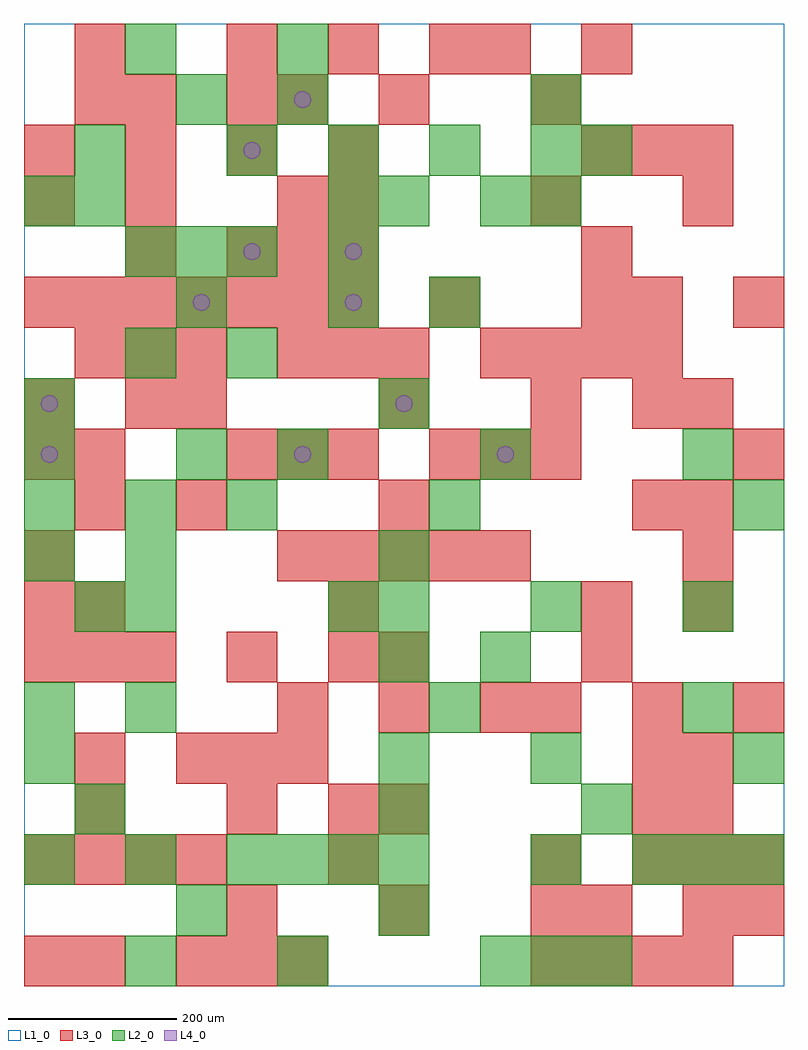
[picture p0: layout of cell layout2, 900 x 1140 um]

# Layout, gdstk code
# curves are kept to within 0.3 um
import gdstk
lib = gdstk.Library(unit=1e-6, precision=1e-09)
def R(c, l, rs):  # rectangles x0, y0, x1, y1
    for r in rs: c.add(gdstk.rectangle(r[:2], r[2:], *l))
def A(c, l, x, y, w, h, nx, ny, dx, dy):  # array of equal rectangles
    R(c, l, [(x+i*dx, y+j*dy, x+i*dx+w, y+j*dy+h) for i in range(nx) for j in range(ny)])
def P(c, l, *ps):  # polygons
    for p in ps: c.add(gdstk.Polygon(p, *l))
L1_0 = (1, 0)
L2_0 = (2, 0)
L3_0 = (3, 0)
L4_0 = (4, 0)

layout2 = lib.new_cell('layout2')
R(layout2, L1_0, [(0,0,900,1140)])
A(layout2, L2_0, 540, 0, 60, 60, 3, 1, 60, 0)
A(layout2, L2_0, 0, 120, 60, 60, 3, 2, 120, 420)
A(layout2, L2_0, 300, 120, 60, 60, 3, 1, 60, 0)
A(layout2, L2_0, 720, 120, 60, 60, 3, 1, 60, 0)
A(layout2, L2_0, 420, 240, 60, 60, 1, 3, 0, 120)
A(layout2, L2_0, 480, 300, 60, 60, 1, 3, 0, 240)
A(layout2, L2_0, 420, 420, 60, 60, 3, 1, 180, 0)
A(layout2, L2_0, 300, 600, 60, 60, 3, 1, 240, 0)
A(layout2, L2_0, 360, 780, 60, 60, 1, 3, 0, 60)
A(layout2, L2_0, 120, 840, 60, 60, 3, 1, 60, 0)
A(layout2, L2_0, 240, 960, 60, 60, 4, 1, 120, 0)
R(layout2, L2_0, [(120,0,180,60), (300,0,360,60), (180,60,240,120), (420,60,480,120), (600,120,660,180), (60,180,120,240), (420,180,480,240), (660,180,720,240), (0,240,60,300), (600,240,660,300), (840,240,900,300), (0,300,60,360), (120,300,180,360), (780,300,840,360), (540,360,600,420), (60,420,120,480), (120,420,180,480), (360,420,420,480), (0,480,60,540), (120,480,180,540), (840,540,900,600), (0,600,60,660), (180,600,240,660), (0,660,60,720), (420,660,480,720), (120,720,180,780), (240,720,300,780), (180,780,240,840), (0,900,60,960), (60,900,120,960), (420,900,480,960), (540,900,600,960), (600,900,660,960), (60,960,120,1020), (660,960,720,1020), (180,1020,240,1080), (300,1020,360,1080), (600,1020,660,1080), (120,1080,180,1140), (300,1080,360,1140)])
A(layout2, L3_0, 180, 0, 60, 60, 3, 2, 60, 240)
A(layout2, L3_0, 600, 0, 60, 60, 4, 1, 60, 0)
A(layout2, L3_0, 240, 60, 60, 60, 3, 1, 180, 0)
A(layout2, L3_0, 0, 120, 60, 60, 4, 1, 60, 0)
A(layout2, L3_0, 720, 120, 60, 60, 3, 1, 60, 0)
A(layout2, L3_0, 420, 180, 60, 60, 1, 3, 0, 180)
A(layout2, L3_0, 300, 300, 60, 60, 3, 1, 120, 0)
A(layout2, L3_0, 600, 300, 60, 60, 3, 1, 120, 0)
A(layout2, L3_0, 0, 360, 60, 60, 3, 1, 60, 0)
A(layout2, L3_0, 60, 420, 60, 60, 3, 1, 300, 0)
A(layout2, L3_0, 780, 420, 60, 60, 1, 3, 0, 60)
A(layout2, L3_0, 300, 480, 60, 60, 5, 1, 60, 0)
A(layout2, L3_0, 720, 540, 60, 60, 1, 3, 0, 120)
A(layout2, L3_0, 240, 600, 60, 60, 3, 2, 60, 240)
A(layout2, L3_0, 480, 600, 60, 60, 3, 1, 60, 0)
A(layout2, L3_0, 60, 720, 60, 60, 3, 1, 60, 0)
A(layout2, L3_0, 300, 720, 60, 60, 3, 1, 60, 0)
A(layout2, L3_0, 540, 720, 60, 60, 4, 1, 60, 0)
A(layout2, L3_0, 0, 780, 60, 60, 7, 1, 60, 0)
A(layout2, L3_0, 0, 960, 60, 60, 4, 1, 120, 0)
A(layout2, L3_0, 660, 960, 60, 60, 3, 1, 60, 0)
A(layout2, L3_0, 240, 1080, 60, 60, 3, 1, 120, 0)
R(layout2, L3_0, [(0,0,60,60), (60,0,120,60), (660,60,720,120), (780,60,840,120), (840,60,900,120), (360,120,420,180), (600,120,660,180), (60,180,120,240), (240,180,300,240), (360,180,420,240), (720,180,780,240), (780,180,840,240), (60,240,120,300), (720,240,780,300), (780,240,840,300), (240,360,300,420), (360,360,420,420), (660,360,720,420), (0,420,60,480), (0,480,60,540), (60,540,120,600), (180,540,240,600), (0,600,60,660), (60,600,120,660), (840,600,900,660), (0,660,60,720), (120,660,180,720), (180,660,240,720), (420,660,480,720), (600,660,660,720), (780,660,840,720), (480,780,540,840), (660,780,720,840), (840,780,900,840), (120,840,180,900), (660,840,720,900), (0,900,60,960), (120,900,180,960), (300,900,360,960), (360,900,420,960), (600,900,660,960), (780,900,840,960), (60,1020,120,1080), (120,1020,180,1080), (240,1020,300,1080), (300,1020,360,1080), (420,1020,480,1080), (600,1020,660,1080), (60,1080,120,1140), (540,1080,600,1140), (660,1080,720,1140)])
P(layout2, L4_0, [(40,630),(39.239,633.827),(37.071,637.071),(33.827,639.239),(30,640),(26.173,639.239),(22.929,637.071),(20.761,633.827),(20,630),(20.761,626.173),(22.929,622.929),(26.173,620.761),(30,620),(33.827,620.761),(37.071,622.929),(39.239,626.173)],
  [(40,690),(39.239,693.827),(37.071,697.071),(33.827,699.239),(30,700),(26.173,699.239),(22.929,697.071),(20.761,693.827),(20,690),(20.761,686.173),(22.929,682.929),(26.173,680.761),(30,680),(33.827,680.761),(37.071,682.929),(39.239,686.173)],
  [(220,810),(219.239,813.827),(217.071,817.071),(213.827,819.239),(210,820),(206.173,819.239),(202.929,817.071),(200.761,813.827),(200,810),(200.761,806.173),(202.929,802.929),(206.173,800.761),(210,800),(213.827,800.761),(217.071,802.929),(219.239,806.173)],
  [(280,870),(279.239,873.827),(277.071,877.071),(273.827,879.239),(270,880),(266.173,879.239),(262.929,877.071),(260.761,873.827),(260,870),(260.761,866.173),(262.929,862.929),(266.173,860.761),(270,860),(273.827,860.761),(277.071,862.929),(279.239,866.173)],
  [(280,990),(279.239,993.827),(277.071,997.071),(273.827,999.239),(270,1000),(266.173,999.239),(262.929,997.071),(260.761,993.827),(260,990),(260.761,986.173),(262.929,982.929),(266.173,980.761),(270,980),(273.827,980.761),(277.071,982.929),(279.239,986.173)],
  [(340,630),(339.239,633.827),(337.071,637.071),(333.827,639.239),(330,640),(326.173,639.239),(322.929,637.071),(320.761,633.827),(320,630),(320.761,626.173),(322.929,622.929),(326.173,620.761),(330,620),(333.827,620.761),(337.071,622.929),(339.239,626.173)],
  [(340,1050),(339.239,1053.827),(337.071,1057.071),(333.827,1059.239),(330,1060),(326.173,1059.239),(322.929,1057.071),(320.761,1053.827),(320,1050),(320.761,1046.173),(322.929,1042.929),(326.173,1040.761),(330,1040),(333.827,1040.761),(337.071,1042.929),(339.239,1046.173)],
  [(400,810),(399.239,813.827),(397.071,817.071),(393.827,819.239),(390,820),(386.173,819.239),(382.929,817.071),(380.761,813.827),(380,810),(380.761,806.173),(382.929,802.929),(386.173,800.761),(390,800),(393.827,800.761),(397.071,802.929),(399.239,806.173)],
  [(400,870),(399.239,873.827),(397.071,877.071),(393.827,879.239),(390,880),(386.173,879.239),(382.929,877.071),(380.761,873.827),(380,870),(380.761,866.173),(382.929,862.929),(386.173,860.761),(390,860),(393.827,860.761),(397.071,862.929),(399.239,866.173)],
  [(460,690),(459.239,693.827),(457.071,697.071),(453.827,699.239),(450,700),(446.173,699.239),(442.929,697.071),(440.761,693.827),(440,690),(440.761,686.173),(442.929,682.929),(446.173,680.761),(450,680),(453.827,680.761),(457.071,682.929),(459.239,686.173)],
  [(580,630),(579.239,633.827),(577.071,637.071),(573.827,639.239),(570,640),(566.173,639.239),(562.929,637.071),(560.761,633.827),(560,630),(560.761,626.173),(562.929,622.929),(566.173,620.761),(570,620),(573.827,620.761),(577.071,622.929),(579.239,626.173)])

lib.write_gds('layout2.gds')
